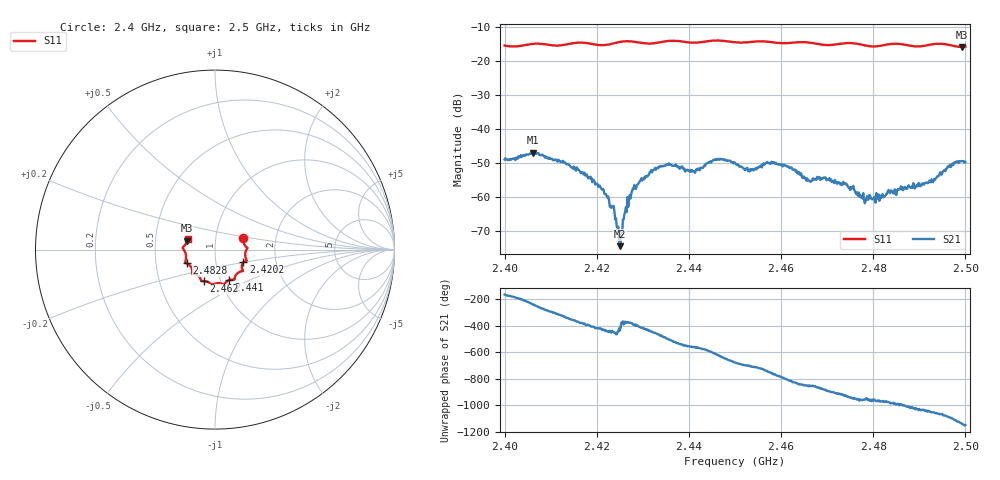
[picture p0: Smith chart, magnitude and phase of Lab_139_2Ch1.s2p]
# Hz S RI R 50
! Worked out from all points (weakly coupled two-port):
!   601 points, 2.4 GHz to 2.5 GHz, reference 50 ohm
!   highest |S21| = -46.92 dB at 2.4062 GHz (marker M1); lowest = -74.4 dB at 2.425 GHz (marker M2)
!   lowest |S11| = -15.8 dB at 2.4992 GHz (marker M3), VSWR 1.39, Z = 36.5 + j3.67 ohm
!   |S11| at or under -10 dB: start of sweep to end of sweep
!   S12 and S22 are empty: the file has one direction only
!   S11 on the Smith chart (normalised r, x): 2.4 GHz: 1.36, +0.18; 2.4202 GHz: 1.36, -0.20; 2.441 GHz: 1.10, -0.39; 2.462 GHz: 0.84, -0.30; 2.4828 GHz: 0.72, -0.11; 2.5 GHz: 0.73, +0.09
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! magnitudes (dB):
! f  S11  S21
! 2.4 GHz  -15.4  -48.9
! 2.4062 GHz  -14.9  -46.9
! 2.4167 GHz  -14.5  -52.7
! 2.4202 GHz  -15.2  -56.2
! 2.4233 GHz  -14.9  -62.9
! 2.425 GHz  -14.4  -74.4
! 2.4277 GHz  -14.2  -58.2
! 2.4333 GHz  -14.5  -51.5
! 2.441 GHz  -14.6  -52.3
! 2.446 GHz  -13.9  -49.0
! 2.45 GHz  -14.4  -49.9
! 2.4533 GHz  -14.4  -51.7
! 2.4575 GHz  -14.3  -50.1
! 2.462 GHz  -14.6  -51.4
! 2.4667 GHz  -14.6  -55.2
! 2.4738 GHz  -14.7  -56.1
! 2.4785 GHz  -15.4  -60.5
! 2.4828 GHz  -15.1  -59.1
! 2.4833 GHz  -15.0  -57.9
! 2.4928 GHz  -15.0  -55.1
! 2.4992 GHz  -15.8  -49.4
! 2.5 GHz  -15.7  -49.7
